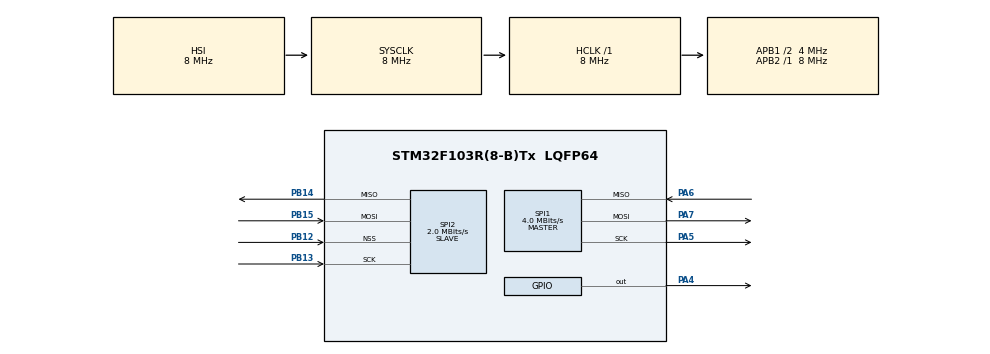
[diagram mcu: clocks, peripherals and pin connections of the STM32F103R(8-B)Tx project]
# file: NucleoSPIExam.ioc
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Mcu.Family=STM32F1
Mcu.Name=STM32F103R(8-B)Tx
Mcu.Package=LQFP64
NVIC.PriorityGroup=NVIC_PRIORITYGROUP_4
NVIC.SPI2_IRQn=true\:0\:0\:false\:false\:true
PA13.Mode=Serial_Wire
PA13.Signal=SYS_JTMS-SWDIO
PA14.Mode=Serial_Wire
PA14.Signal=SYS_JTCK-SWCLK
PA4.Signal=GPIO_Output
PA5.Mode=Full_Duplex_Master
PA5.Signal=SPI1_SCK
PA6.Mode=Full_Duplex_Master
PA6.Signal=SPI1_MISO
PA7.Mode=Full_Duplex_Master
PA7.Signal=SPI1_MOSI
PB12.Mode=NSS_Signal_Hard_Input
PB12.Signal=SPI2_NSS
PB13.Mode=Full_Duplex_Slave
PB13.Signal=SPI2_SCK
PB14.Mode=Full_Duplex_Slave
PB14.Signal=SPI2_MISO
PB15.Mode=Full_Duplex_Slave
PB15.Signal=SPI2_MOSI
ProjectManager.HeapSize=0x200
ProjectManager.StackSize=0x400
ProjectManager.TargetToolchain=EWARM
RCC.AHBFreq_Value=8000000
RCC.APB1CLKDivider=RCC_HCLK_DIV2
RCC.APB1Freq_Value=4000000
RCC.APB1TimFreq_Value=8000000
RCC.APB2Freq_Value=8000000
RCC.APB2TimFreq_Value=8000000
RCC.HCLKFreq_Value=8000000
RCC.PLLMUL=RCC_PLL_MUL16
RCC.SYSCLKFreq_VALUE=8000000
RCC.USBFreq_Value=64000000
SPI1.BaudRatePrescaler=SPI_BAUDRATEPRESCALER_2
SPI1.CLKPhase=SPI_PHASE_1EDGE
SPI1.CLKPolarity=SPI_POLARITY_LOW
SPI1.CalculateBaudRate=4.0 MBits/s
SPI1.Direction=SPI_DIRECTION_2LINES
SPI1.Mode=SPI_MODE_MASTER
SPI1.VirtualType=VM_MASTER
SPI2.CalculateBaudRate=2.0 MBits/s
SPI2.Direction=SPI_DIRECTION_2LINES
SPI2.FirstBit=SPI_FIRSTBIT_MSB
SPI2.Mode=SPI_MODE_SLAVE
SPI2.VirtualNSS=VM_NSSHARD
SPI2.VirtualType=VM_SLAVE
board=NUCLEO-F103RB

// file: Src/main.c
/**
  ******************************************************************************
  * File Name          : main.c
  * Description        : Main program body
  ******************************************************************************
  ** This notice applies to any and all portions of this file
  * that are not between comment pairs USER CODE BEGIN and
  * USER CODE END. Other portions of this file, whether
  * inserted by the user or by software development tools
  * are owned by their respective copyright owners.
  *
  * COPYRIGHT(c) 2017 STMicroelectronics
  *
  * Redistribution and use in source and binary forms, with or without modification,
  * are permitted provided that the following conditions are met:
  *   1. Redistributions of source code must retain the above copyright notice,
  *      this list of conditions and the following disclaimer.
  *   2. Redistributions in binary form must reproduce the above copyright notice,
  *      this list of conditions and the following disclaimer in the documentation
  *      and/or other materials provided with the distribution.
  *   3. Neither the name of STMicroelectronics nor the names of its contributors
  *      may be used to endorse or promote products derived from this software
  *      without specific prior written permission.
  *
  * THIS SOFTWARE IS PROVIDED BY THE COPYRIGHT HOLDERS AND CONTRIBUTORS "AS IS"
  * AND ANY EXPRESS OR IMPLIED WARRANTIES, INCLUDING, BUT NOT LIMITED TO, THE
  * IMPLIED WARRANTIES OF MERCHANTABILITY AND FITNESS FOR A PARTICULAR PURPOSE ARE
  * DISCLAIMED. IN NO EVENT SHALL THE COPYRIGHT HOLDER OR CONTRIBUTORS BE LIABLE
  * FOR ANY DIRECT, INDIRECT, INCIDENTAL, SPECIAL, EXEMPLARY, OR CONSEQUENTIAL
  * DAMAGES (INCLUDING, BUT NOT LIMITED TO, PROCUREMENT OF SUBSTITUTE GOODS OR
  * SERVICES; LOSS OF USE, DATA, OR PROFITS; OR BUSINESS INTERRUPTION) HOWEVER
  * CAUSED AND ON ANY THEORY OF LIABILITY, WHETHER IN CONTRACT, STRICT LIABILITY,
  * OR TORT (INCLUDING NEGLIGENCE OR OTHERWISE) ARISING IN ANY WAY OUT OF THE USE
  * OF THIS SOFTWARE, EVEN IF ADVISED OF THE POSSIBILITY OF SUCH DAMAGE.
  *
  ******************************************************************************
  */
#include "main.h"
#include "stm32f1xx_hal.h"

SPI_HandleTypeDef hspi1;
SPI_HandleTypeDef hspi2;

/* USER CODE BEGIN PV */
/* Private variables ---------------------------------------------------------*/

/* USER CODE END PV */

void SystemClock_Config(void);
static void MX_GPIO_Init(void);
static void MX_SPI1_Init(void);
static void MX_SPI2_Init(void);

/* USER CODE BEGIN PFP */
/* Private function prototypes -----------------------------------------------*/

/* USER CODE END PFP */

/* USER CODE BEGIN 0 */
uint8_t dataTx[8] = { 'a', '.', 's', 'e', 'l', 'a', 'm', '\0' };
uint8_t dataRxD[6];
#define SpiEn HAL_GPIO_WritePin(GPIOA,GPIO_PIN_4,GPIO_PIN_RESET);
#define SpiDisab HAL_GPIO_WritePin(GPIOA,GPIO_PIN_4,GPIO_PIN_SET);
void HAL_SPI_RxCpltCallback(SPI_HandleTypeDef *hspi);
/* USER CODE END 0 */

int main(void)
{

  /* MCU Configuration----------------------------------------------------------*/

  /* Reset of all peripherals, Initializes the Flash interface and the Systick. */
  HAL_Init();

  /* Configure the system clock */
  SystemClock_Config();

  /* Initialize all configured peripherals */
  MX_GPIO_Init();
  MX_SPI1_Init();
  MX_SPI2_Init();

  /* USER CODE BEGIN 2 */
	HAL_SPI_Receive_IT(&hspi2, (uint8_t*) dataRxD,6);

  /* USER CODE END 2 */

  /* Infinite loop */
	while (1) {

  /* USER CODE BEGIN 3 */
	  SpiEn;
	  HAL_SPI_Transmit(&hspi1,(uint8_t*)dataTx,8,5000);
	  SpiDisab;
	  while(HAL_SPI_GetState(&hspi1) != HAL_SPI_STATE_READY)
            ;
		HAL_Delay(1);

	}
  /* USER CODE END 3 */

}

/** System Clock Configuration
*/
void SystemClock_Config(void)
{

  RCC_OscInitTypeDef RCC_OscInitStruct;
  RCC_ClkInitTypeDef RCC_ClkInitStruct;

    /**Initializes the CPU, AHB and APB busses clocks
    */
  RCC_OscInitStruct.OscillatorType = RCC_OSCILLATORTYPE_HSI;
  RCC_OscInitStruct.HSIState = RCC_HSI_ON;
  RCC_OscInitStruct.HSICalibrationValue = 16;
  RCC_OscInitStruct.PLL.PLLState = RCC_PLL_NONE;
  if (HAL_RCC_OscConfig(&RCC_OscInitStruct) != HAL_OK)
  {
    _Error_Handler(__FILE__, __LINE__);
  }

    /**Initializes the CPU, AHB and APB busses clocks
    */
  RCC_ClkInitStruct.ClockType = RCC_CLOCKTYPE_HCLK|RCC_CLOCKTYPE_SYSCLK
                              |RCC_CLOCKTYPE_PCLK1|RCC_CLOCKTYPE_PCLK2;
  RCC_ClkInitStruct.SYSCLKSource = RCC_SYSCLKSOURCE_HSI;
  RCC_ClkInitStruct.AHBCLKDivider = RCC_SYSCLK_DIV1;
  RCC_ClkInitStruct.APB1CLKDivider = RCC_HCLK_DIV2;
  RCC_ClkInitStruct.APB2CLKDivider = RCC_HCLK_DIV1;

  if (HAL_RCC_ClockConfig(&RCC_ClkInitStruct, FLASH_LATENCY_0) != HAL_OK)
  {
    _Error_Handler(__FILE__, __LINE__);
  }

    /**Configure the Systick interrupt time
    */
  HAL_SYSTICK_Config(HAL_RCC_GetHCLKFreq()/1000);

    /**Configure the Systick
    */
  HAL_SYSTICK_CLKSourceConfig(SYSTICK_CLKSOURCE_HCLK);

  /* SysTick_IRQn interrupt configuration */
  HAL_NVIC_SetPriority(SysTick_IRQn, 0, 0);
}

/* SPI1 init function */
static void MX_SPI1_Init(void)
{

  hspi1.Instance = SPI1;
  hspi1.Init.Mode = SPI_MODE_MASTER;
  hspi1.Init.Direction = SPI_DIRECTION_2LINES;
  hspi1.Init.DataSize = SPI_DATASIZE_8BIT;
  hspi1.Init.CLKPolarity = SPI_POLARITY_LOW;
  hspi1.Init.CLKPhase = SPI_PHASE_1EDGE;
  hspi1.Init.NSS = SPI_NSS_SOFT;
  hspi1.Init.BaudRatePrescaler = SPI_BAUDRATEPRESCALER_2;
  hspi1.Init.FirstBit = SPI_FIRSTBIT_MSB;
  hspi1.Init.TIMode = SPI_TIMODE_DISABLE;
  hspi1.Init.CRCCalculation = SPI_CRCCALCULATION_DISABLE;
  hspi1.Init.CRCPolynomial = 10;
  if (HAL_SPI_Init(&hspi1) != HAL_OK)
  {
    _Error_Handler(__FILE__, __LINE__);
  }

}

/* SPI2 init function */
static void MX_SPI2_Init(void)
{

  hspi2.Instance = SPI2;
  hspi2.Init.Mode = SPI_MODE_SLAVE;
  hspi2.Init.Direction = SPI_DIRECTION_2LINES;
  hspi2.Init.DataSize = SPI_DATASIZE_8BIT;
  hspi2.Init.CLKPolarity = SPI_POLARITY_LOW;
  hspi2.Init.CLKPhase = SPI_PHASE_1EDGE;
  hspi2.Init.NSS = SPI_NSS_HARD_INPUT;
  hspi2.Init.BaudRatePrescaler = SPI_BAUDRATEPRESCALER_2;
  hspi2.Init.FirstBit = SPI_FIRSTBIT_MSB;
  hspi2.Init.TIMode = SPI_TIMODE_DISABLE;
  hspi2.Init.CRCCalculation = SPI_CRCCALCULATION_DISABLE;
  hspi2.Init.CRCPolynomial = 10;
  if (HAL_SPI_Init(&hspi2) != HAL_OK)
  {
    _Error_Handler(__FILE__, __LINE__);
  }

}

/** Configure pins as
        * Analog
        * Input
        * Output
        * EVENT_OUT
        * EXTI
*/
static void MX_GPIO_Init(void)
{

  GPIO_InitTypeDef GPIO_InitStruct;

  /* GPIO Ports Clock Enable */
  __HAL_RCC_GPIOA_CLK_ENABLE();
  __HAL_RCC_GPIOB_CLK_ENABLE();

  /*Configure GPIO pin Output Level */
  HAL_GPIO_WritePin(GPIOA, GPIO_PIN_4, GPIO_PIN_RESET);

  /*Configure GPIO pin : PA4 */
  GPIO_InitStruct.Pin = GPIO_PIN_4;
  GPIO_InitStruct.Mode = GPIO_MODE_OUTPUT_PP;
  GPIO_InitStruct.Speed = GPIO_SPEED_FREQ_LOW;
  HAL_GPIO_Init(GPIOA, &GPIO_InitStruct);

}

/* USER CODE BEGIN 4 */
void HAL_SPI_RxCpltCallback(SPI_HandleTypeDef *hspi) {

	if (hspi->Instance == hspi2.Instance) {
		HAL_SPI_Receive_IT(&hspi2, (uint8_t*) dataRxD,6);

	}

}

/* USER CODE END 4 */

void _Error_Handler(char * file, int line)
{
	while (1) {
	}
}

/************************ (C) COPYRIGHT STMicroelectronics *****END OF FILE****/
